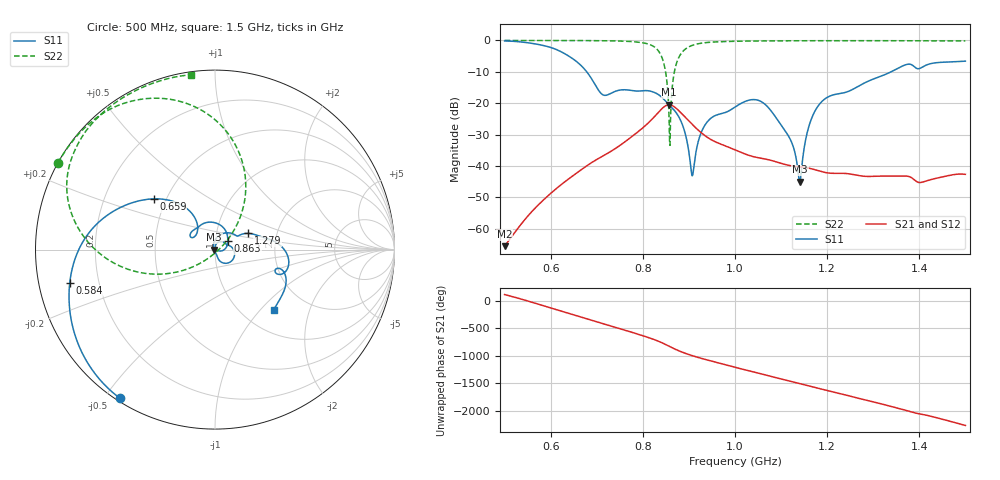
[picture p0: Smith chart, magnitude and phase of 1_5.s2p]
! TOUCHSTONE file generated by CST MICROWAVE STUDIO
! Date and time: Fri Oct  2 19:07:46 2020
! Project name: Scenario_1_Free_Space_out_of_line.cst
! Parameters = {Lambda=346.42; Step_1=17.321; dy1=346; dx1=866; L_HA=400; MT=2.54; Rad_Dielectric=30; Rad_Lower=7.3; Rad_Upper=30; a_HA=580; a_WG=246; b_HA=500; b_WG=121; c_HA=0; c_WG=187; d_feed=85; h_feed=15; h_lower=18; h_upper=40}
! Header version: 2018
! Port assignment regex: !\s*Touchstone port\s*([0-9]+)\s*=\s*(CST MWS port|CST DS port)\s*([0-9]+|Zmin|Zmax)\s*\(\"(.*)\"\)(\s*mode\s*([0-9]+))?.*
! Touchstone port assignment:
! Touchstone port 1 = CST MWS port 1 ("")
! Touchstone port 2 = CST MWS port 2 ("")
# GHz S DB R 50
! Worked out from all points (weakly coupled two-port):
!   1003 points, 500 MHz to 1.5 GHz, reference 50 ohm
!   highest |S21| = -20.50 dB at 857 MHz (marker M1); lowest = -65.5 dB at 500 MHz (marker M2)
!   lowest |S11| = -45.0 dB at 1.141 GHz (marker M3), VSWR 1.01, Z = 49.5 - j0.107 ohm
!   |S11| at or under -10 dB: 678.3 MHz to 1.339 GHz (660.3 MHz wide, 65.5 % of centre)
!   |S22| runs from -33.4 to 0.0 dB; largest |S21 - S12| = 0.00023
!   S11 on the Smith chart (normalised r, x): 500 MHz: 0.01, -0.55; 584 MHz: 0.09, -0.11; 659 MHz: 0.43, +0.30; 863 MHz: 1.15, +0.11; 1.279 GHz: 1.43, +0.27; 1.5 GHz: 1.38, -1.18
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0.5  -0.15 -122.5  -65.53 115.5  -65.53 115.5  -0.01 151.2
0.584  -1.61 -167.0  -50.85 -86.8  -50.85 -86.8  -0.01 145.3
0.659  -7.07 140.4  -41.95 83.7  -41.95 83.7  -0.04 139.1
0.667  -8.14 134.7  -41.10 63.5  -41.10 63.5  -0.04 138.3
0.715  -17.42 140.0  -36.66 -58.5  -36.66 -58.5  -0.10 132.9
0.79  -16.14 127.1  -29.04 113.7  -29.04 113.7  -0.55 117.1
0.834  -17.27 74.8  -22.85 -13.3  -22.85 -13.3  -3.37 86.0
0.848  -19.11 53.4  -20.94 -66.0  -20.94 -66.0  -8.93 61.6
0.857  -20.48 41.2  -20.50 -103.7  -20.50 -103.7  -25.01 30.4
0.863  -21.38 32.7  -20.69 -129.0  -20.69 -129.0  -16.37 -141.7
0.867  -22.03 26.6  -21.01 -145.2  -21.01 -145.2  -11.20 -151.7
0.875  -23.59 13.4  -21.95 -175.7  -21.95 -175.7  -6.45 -165.8
0.907  -43.12 28.7  -26.73 85.6  -26.73 85.6  -1.58 164.9
0.937  -26.48 63.3  -30.56 13.1  -30.56 13.1  -0.69 152.6
1  -21.23 13.3  -34.85 -125.6  -34.85 -125.6  -0.27 140.4
1.07  -21.02 -57.6  -37.91 86.4  -37.91 86.4  -0.15 132.5
1.12  -31.52 -74.2  -39.87 -19.2  -39.87 -19.2  -0.11 128.0
1.141  -45.01 -168.9  -40.26 -62.7  -40.26 -62.7  -0.10 126.3
1.167  -24.55 86.6  -40.93 -119.5  -40.93 -119.5  -0.10 124.2
1.279  -13.69 25.9  -43.25 8.7  -43.25 8.7  -0.08 115.7
1.334  -10.32 11.1  -43.19 -106.8  -43.19 -106.8  -0.09 111.5
1.5  -6.60 -45.6  -42.66 -103.0  -42.53 -104.5  -0.14 98.0
